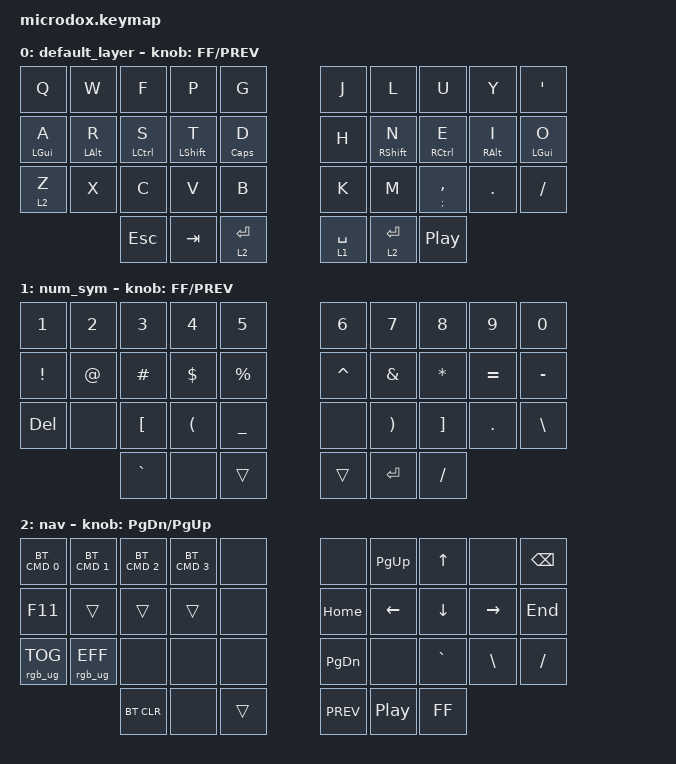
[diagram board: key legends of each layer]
/*
 * Copyright (c) 2020 The ZMK Contributors
 *
 * SPDX-License-Identifier: MIT
 */

#include <behaviors.dtsi>
#include <dt-bindings/zmk/keys.h>
#include <dt-bindings/zmk/bt.h>
#include <dt-bindings/zmk/rgb.h>

#define DEFAULT 0
#define NUM_SYM 1
#define NAV     2

/ {
	left_encoder: encoder_left {
        compatible = "alps,ec11";
        label = "LEFT_ENCODER";
        a-gpios = <&pro_micro_d 4 (GPIO_ACTIVE_HIGH | GPIO_PULL_UP)>;
        b-gpios = <&pro_micro_d 5 (GPIO_ACTIVE_HIGH | GPIO_PULL_UP)>;
        resolution = <4>;
    };
};

/ {
	behaviors {
		rst: boot_reset 
		{
			compatible = "zmk,behavior-hold-tap";
			label = "Bootloader Tap - Reset Hold";
			#binding-cells = <2>;
			tapping_term_ms = <200>;
            flavor = "balanced";
			bindings = <&reset>, <&bootloader>;
        };

        bh: layer_taps 
		{
			compatible = "zmk,behavior-hold-tap";
			label = "Layer-Tap";
			#binding-cells = <2>;
			tapping_term_ms = <215>;
            flavor = "tap-preferred";
			bindings = <&mo>, <&kp>;
        };

        hm: homerow_mods0 
		{
			compatible = "zmk,behavior-hold-tap";
			label = "homerow mods";
			#binding-cells = <2>;
			tapping_term_ms = <230>;
            flavor = "tap-preferred";
			bindings = <&kp>, <&kp>;
        };
        
        hm1: homerow_mods1 
		{
			compatible = "zmk,behavior-hold-tap";
			label = "homerow mods";
			#binding-cells = <2>;
			tapping_term_ms = <205>;
            flavor = "tap-preferred";
			bindings = <&kp>, <&kp>;
        };

        hm2: homerow_mods2 
		{
			compatible = "zmk,behavior-hold-tap";
			label = "homerow mods 2";
			#binding-cells = <2>;
			tapping_term_ms = <250>;
            flavor = "tap-preferred";
			bindings = <&kp>, <&kp>;
        };

        com_col: comma_semicolon
		{
		 	compatible = "zmk,behavior-hold-tap";
	     	label = "Tap comma_hold colon";
			#binding-cells = <2>;
			tapping_term_ms = <150>;
            flavor = "balanced";
		 	bindings = <&kp>, <&kp>;
	    };
   	 };
};

/ {
	combos {
		compatible = "zmk,combos";
		combo_backspce {
			timeout-ms = <40>;
			key-positions = <8 9>;
			bindings = <&kp BSPC>;
		};
		combo_gesc 
		{
			timeout-ms = <30>;
			key-positions = <0 1>;
			bindings = <&com_col GRAVE ESC>;
		};
		combo_tab 
		{
			timeout-ms = <35>;
			key-positions = <11 12>;
			bindings = <&kp TAB>;
		};
		// combo_mnxt 
		// {
		// 	timeout-ms = <30>;
		// 	key-positions = <34 35>;
		// 	bindings = <&kp C_NEXT>;
		// };
		// combo_mprev 
		// {
		// 	timeout-ms = <30>;
		// 	key-positions = <33 34>;
		// 	bindings = <&kp C_PREV>;	
		// };
		// combo_mpp 
		// {
		// 	timeout-ms = <30>;
		// 	key-positions = <33 35>;
		// 	bindings = <&kp C_PP>;
		// };
		combo_del 
		{
			timeout-ms = <40>;
			key-positions = <7 8 9>;
			bindings = <&kp DEL>;
		};
		combo_enter1 
		{
			timeout-ms = <40>;
			key-positions = <2 3>;
			bindings = <&kp RET>;
		};
		combo_enter2 
		{
			timeout-ms = <40>;
			key-positions = <17 18>;
			bindings = <&kp RET>;
		};
	};
};

/ {
	sensors {
		compatible = "zmk,keymap-sensors";
		sensors = <&left_encoder>;
	};
};

/ {
    keymap {
        compatible = "zmk,keymap";

        default_layer {
            bindings = <
    &kp Q &kp W &kp F &kp P &kp G &kp J &kp L &kp U &kp Y &kp SQT    
    &hm2 LGUI A &hm LALT R &hm LCTRL S &hm1 LSHFT T &hm2 CLCK D &kp H &hm1 RSHFT N &hm RCTRL E &hm RALT I &hm2 LGUI O
    &bh 2 Z &kp X &kp C &kp V &kp B &kp K &kp M &com_col SEMI COMMA &kp DOT &kp FSLH
    &kp ESC &kp TAB &bh 2 RET &bh 1 SPACE &bh 2 RET &kp C_PP
            >;
			sensor-bindings = <&inc_dec_kp C_FF C_PREV>;
        };

        num_sym {
            bindings = <
    &kp N1 &kp N2 &kp N3 &kp N4 &kp N5 &kp N6 &kp N7 &kp N8 &kp N9 &kp N0    
    &kp EXCL &kp AT &kp POUND &kp DLLR &kp PRCNT &kp CARET &kp AMPS &kp STAR &kp EQUAL &kp MINUS       
    &kp DEL &none &kp LBKT &kp LPAR &kp UNDER &none &kp RPAR &kp RBKT &kp DOT &kp BSLH
    &kp GRAVE &none &trans &trans &kp RET &kp FSLH
            >;
			sensor-bindings = <&inc_dec_kp C_FF C_PREV>;
        };

    nav {
            bindings = <
    &bt BT_SEL_CMD 0 &bt BT_SEL_CMD 1 &bt BT_SEL_CMD 2 &bt BT_SEL_CMD 3 &none &none &kp PG_UP &kp UP &none &kp BSPC    
    &kp F11 &trans &trans &trans &none &kp HOME &kp LEFT &kp DOWN &kp RIGHT &kp END       
    &rgb_ug RGB_TOG &rgb_ug RGB_EFF &none &none &none &kp PG_DN &none &kp GRAVE &kp BSLH &kp FSLH
    &bt BT_CLR &none &trans &kp C_PREV &kp C_PP &kp C_FF
            >;
			sensor-bindings = <&inc_dec_kp PG_DN PG_UP>;
        };
    };
};
